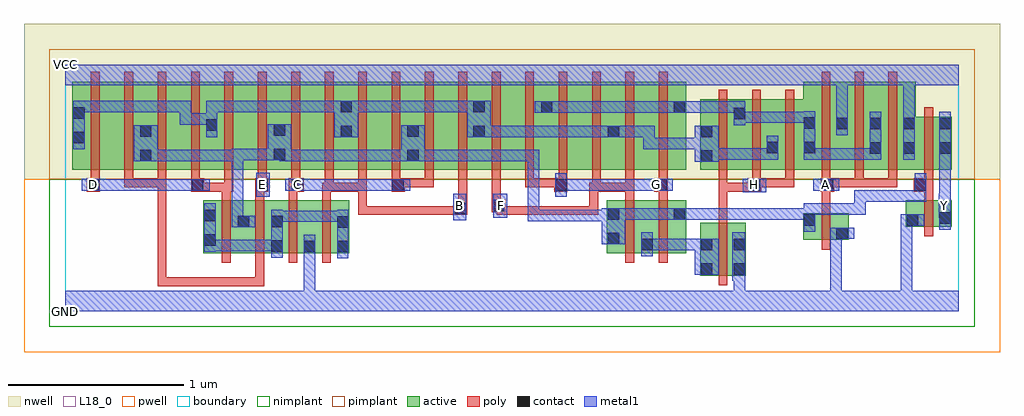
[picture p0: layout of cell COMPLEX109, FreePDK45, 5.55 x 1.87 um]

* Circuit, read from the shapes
.subckt COMPLEX109 A B C D E F G GND H VCC Y
M1 n1 D n2 VSUBS nfet w=0.3u l=0.05u
M2 n2 E n1 VSUBS nfet w=0.3u l=0.05u
M3 GND C n2 VSUBS nfet w=0.3u l=0.05u
M4 n2 B GND VSUBS nfet w=0.3u l=0.05u
M5 n3 F n1 VSUBS nfet w=0.3u l=0.05u
M6 n1 G n3 VSUBS nfet w=0.3u l=0.05u
M7 GND H n3 VSUBS nfet w=0.3u l=0.05u
M8 GND A n1 VSUBS nfet w=0.15u l=0.05u
M9 Y n1 GND VSUBS nfet w=0.15u l=0.05u
M10 n4 D n5 n6 pfet w=0.5u l=0.05u
M11 n1 E n4 n6 pfet w=0.5u l=0.05u
M12 n7 E n1 n6 pfet w=0.5u l=0.05u
M13 n5 D n7 n6 pfet w=0.5u l=0.05u
M14 n8 D n5 n6 pfet w=0.5u l=0.05u
M15 n1 E n8 n6 pfet w=0.5u l=0.05u
M16 n9 C n1 n6 pfet w=0.5u l=0.05u
M17 n5 B n9 n6 pfet w=0.5u l=0.05u
M18 n10 B n5 n6 pfet w=0.5u l=0.05u
M19 n1 C n10 n6 pfet w=0.5u l=0.05u
M20 n11 C n1 n6 pfet w=0.5u l=0.05u
M21 n5 B n11 n6 pfet w=0.5u l=0.05u
M22 n12 F n5 n6 pfet w=0.5u l=0.05u
M23 n13 G n12 n6 pfet w=0.5u l=0.05u
M24 n14 G n13 n6 pfet w=0.5u l=0.05u
M25 n5 F n14 n6 pfet w=0.5u l=0.05u
M26 n15 F n5 n6 pfet w=0.5u l=0.05u
M27 n13 G n15 n6 pfet w=0.5u l=0.05u
M28 n13 H n5 n6 pfet w=0.4u l=0.05u m=3
M29 VCC A n13 n6 pfet w=0.5u l=0.05u m=3
M30 Y n1 VCC n6 pfet w=0.3u l=0.05u
.ends

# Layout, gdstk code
import gdstk
lib = gdstk.Library(unit=1e-6, precision=1e-09)
def R(c, l, rs):  # rectangles x0, y0, x1, y1
    for r in rs: c.add(gdstk.rectangle(r[:2], r[2:], *l))
def A(c, l, x, y, w, h, nx, ny, dx, dy):  # array of equal rectangles
    R(c, l, [(x+i*dx, y+j*dy, x+i*dx+w, y+j*dy+h) for i in range(nx) for j in range(ny)])
active = (1, 0)
pwell = (2, 0)
nwell = (3, 0)
nimplant = (4, 0)
pimplant = (5, 0)
poly = (9, 0)
contact = (10, 0)
metal1 = (11, 0)
L18_0 = (18, 0)
boundary = (235, 0)

complex109 = lib.new_cell('COMPLEX109')
A(complex109, active, 0.42, 0.805, 0.075, 0.265, 3, 1, 0.76, 0)
A(complex109, active, 1.025, 0.805, 0.23, 0.5, 3, 1, 0.38, 0)
A(complex109, active, 1.18, 0.805, 0.225, 0.5, 3, 1, 0.38, 0)
R(complex109, active, [(3.61,0.202,3.685,0.502), (3.61,0.202,3.87,0.502), (3.795,0.202,3.87,0.502), (0.785,0.33,1.05,0.63), (0.975,0.33,1.24,0.63), (0.975,0.33,1.05,0.547), (1.165,0.33,1.427,0.63), (1.352,0.33,1.615,0.63), (1.352,0.33,1.427,0.405), (1.54,0.33,1.615,0.63), (3.08,0.33,3.155,0.63), (3.08,0.33,3.345,0.63), (3.27,0.33,3.53,0.63), (3.27,0.33,3.345,0.417), (3.455,0.33,3.53,0.63), (0.785,0.332,0.86,0.63), (1.165,0.332,1.24,0.547), (4.195,0.405,4.27,0.555), (4.195,0.405,4.455,0.555), (4.38,0.405,4.455,0.555), (4.78,0.48,4.855,0.63), (4.78,0.48,5.04,0.63), (4.965,0.48,5.04,0.63), (0.04,0.805,0.265,1.305), (0.04,0.805,0.145,1.2), (0.265,0.805,0.495,1.305), (0.42,0.805,0.645,1.305), (0.645,0.805,0.87,1.305), (0.795,0.805,0.87,1.2), (0.795,0.805,1.025,1.305), (1.56,0.805,1.635,1.2), (2.165,0.805,2.39,1.305), (2.315,0.805,2.39,1.2), (2.315,0.805,2.545,1.305), (2.545,0.805,2.775,1.305), (2.7,0.805,2.775,1.2), (2.7,0.805,2.925,1.305), (2.925,0.805,3.155,1.305), (3.08,0.805,3.155,1.07), (3.08,0.805,3.305,1.305), (3.305,0.805,3.53,1.305), (3.455,0.805,3.53,1.2), (3.61,0.805,3.685,1.07), (3.61,0.805,3.87,1.205), (3.795,0.805,3.87,1.2), (3.795,0.805,4.06,1.205), (3.985,0.805,4.27,1.205), (3.985,0.805,4.06,1.07), (4.195,0.805,4.27,1.2), (4.195,0.805,4.455,1.305), (4.38,0.805,4.645,1.305), (4.38,0.805,4.455,1.305), (4.57,0.805,4.835,1.305), (4.57,0.805,4.645,1.2), (4.76,0.805,4.835,1.105), (4.76,0.805,5.04,1.105), (4.965,0.805,5.04,1.105)])
R(complex109, pwell, [(-0.235,-0.235,5.315,0.75)])
R(complex109, nwell, [(-0.235,0.75,5.315,1.635)])
R(complex109, nimplant, [(-0.09,-0.09,5.17,0.75)])
R(complex109, pimplant, [(-0.09,0.75,5.17,1.49)])
A(complex109, poly, 0.89, 0.275, 0.05, 0.41, 4, 1, 0.19, 0)
A(complex109, poly, 0.89, 0.635, 0.05, 0.095, 4, 1, 0.19, 0)
A(complex109, poly, 0.145, 0.705, 0.05, 0.095, 4, 1, 0.19, 0)
A(complex109, poly, 4.3, 0.705, 0.05, 0.095, 3, 1, 0.19, 0)
A(complex109, poly, 0.145, 0.75, 0.05, 0.61, 18, 1, 0.19, 0)
A(complex109, poly, 3.715, 0.75, 0.05, 0.51, 3, 1, 0.19, 0)
A(complex109, poly, 4.3, 0.75, 0.05, 0.61, 3, 1, 0.19, 0)
R(complex109, poly, [(0.525,0.142,0.575,0.192), (0.525,0.142,0.575,0.192), (0.525,0.142,0.575,0.192), (0.525,0.142,0.575,0.192), (0.525,0.142,0.575,0.192), (0.525,0.142,0.575,0.192), (0.525,0.142,0.575,0.192), (0.525,0.142,0.807,0.192), (0.525,0.142,0.575,0.755), (0.757,0.142,0.807,0.192), (0.757,0.142,0.997,0.192), (0.947,0.142,0.997,0.192), (0.947,0.142,0.997,0.192), (0.947,0.142,0.997,0.192), (0.947,0.142,1.13,0.192), (1.08,0.142,1.13,0.192), (1.08,0.142,1.13,0.192), (1.08,0.142,1.13,0.192), (1.08,0.142,1.13,0.325), (3.715,0.147,3.765,0.557), (3.185,0.275,3.235,0.685), (3.375,0.275,3.425,0.685), (4.3,0.35,4.35,0.61), (4.885,0.425,4.935,0.685), (3.715,0.507,3.765,0.73), (1.665,0.547,1.715,0.597), (1.665,0.547,1.715,0.597), (1.665,0.547,1.715,0.597), (1.665,0.547,1.715,0.597), (1.665,0.547,1.715,0.597), (1.665,0.547,1.715,0.73), (1.665,0.547,1.865,0.597), (1.815,0.547,1.865,0.597), (1.815,0.547,2.127,0.597), (2.077,0.547,2.127,0.597), (2.077,0.547,2.127,0.597), (2.077,0.547,2.127,0.597), (2.077,0.547,2.26,0.597), (2.21,0.547,2.26,0.597), (2.21,0.547,2.26,0.597), (2.21,0.547,2.26,0.597), (2.21,0.547,2.26,0.597), (2.21,0.547,2.26,0.597), (2.21,0.547,2.26,0.597), (2.21,0.547,2.285,0.622), (2.452,0.547,2.502,0.597), (2.452,0.547,2.502,0.597), (2.452,0.547,2.502,0.597), (2.452,0.547,2.635,0.597), (2.452,0.547,2.502,0.612), (2.585,0.547,2.635,0.597), (2.585,0.547,2.797,0.597), (2.747,0.547,2.797,0.597), (2.747,0.547,2.797,0.597), (2.747,0.547,2.797,0.597), (2.747,0.547,3.03,0.597), (2.98,0.547,3.03,0.597), (2.98,0.547,3.03,0.597), (2.98,0.547,3.03,0.597), (2.98,0.547,3.03,0.597), (2.98,0.547,3.03,0.597), (2.98,0.547,3.03,0.73), (4.3,0.56,4.35,0.73), (2.425,0.562,2.502,0.637), (2.452,0.562,2.502,0.612), (2.452,0.562,2.502,0.612), (2.235,0.572,2.285,0.8), (2.425,0.587,2.475,0.8), (3.185,0.635,3.235,0.73), (3.375,0.635,3.425,0.73), (4.885,0.635,4.935,0.73), (0.122,0.68,0.197,0.755), (0.715,0.68,0.79,0.755), (0.74,0.68,0.94,0.73), (0.89,0.68,0.94,0.73), (0.89,0.68,0.94,0.73), (0.89,0.68,0.955,0.73), (0.905,0.68,0.955,0.8), (1.08,0.68,1.155,0.755), (1.27,0.68,1.357,0.755), (1.46,0.68,1.525,0.73), (1.475,0.68,1.525,0.73), (1.475,0.68,1.525,0.73), (1.475,0.68,1.715,0.73), (1.475,0.68,1.525,0.8), (1.665,0.68,1.715,0.73), (1.665,0.68,1.715,0.8), (1.855,0.68,1.93,0.755), (2.78,0.68,2.855,0.755), (2.98,0.68,3.045,0.73), (2.995,0.68,3.235,0.73), (2.995,0.68,3.045,0.8), (3.185,0.68,3.235,0.73), (3.185,0.68,3.235,0.73), (3.185,0.68,3.235,0.73), (3.185,0.68,3.235,0.8), (3.35,0.68,3.425,0.755), (3.715,0.68,3.765,0.73), (3.715,0.68,3.765,0.73), (3.715,0.68,3.765,0.73), (3.715,0.68,3.932,0.73), (3.715,0.68,3.765,0.8), (3.882,0.68,3.957,0.755), (4.297,0.68,4.372,0.755), (4.825,0.68,4.935,0.755), (0.335,0.705,0.385,0.755), (0.335,0.705,0.385,0.755), (0.335,0.705,0.385,0.755), (0.335,0.705,0.575,0.755), (0.525,0.705,0.575,0.755), (0.525,0.705,0.575,0.755), (0.525,0.705,0.575,0.755), (1.095,0.705,1.145,0.8), (1.285,0.705,1.335,0.8), (1.855,0.705,1.905,0.8), (1.88,0.705,1.93,0.755), (1.88,0.705,1.93,0.755), (1.88,0.705,2.095,0.755), (2.045,0.705,2.095,0.8), (2.045,0.705,2.095,0.755), (2.615,0.705,2.665,0.8), (2.615,0.705,2.665,0.755), (2.615,0.705,2.83,0.755), (2.78,0.705,2.83,0.755), (2.78,0.705,2.83,0.755), (2.805,0.705,2.855,0.8), (3.375,0.705,3.425,0.8), (3.905,0.705,3.955,0.8), (3.907,0.705,4.145,0.755), (4.095,0.705,4.145,0.8), (4.095,0.705,4.145,0.755), (4.095,0.705,4.145,0.755), (4.095,0.705,4.145,0.755), (4.322,0.705,4.372,0.755), (4.322,0.705,4.372,0.755), (4.322,0.705,4.54,0.755), (4.49,0.705,4.54,0.755), (4.49,0.705,4.73,0.755), (4.68,0.705,4.73,0.755), (4.68,0.705,4.73,0.755), (4.68,0.705,4.73,0.755), (4.885,0.705,4.935,0.8), (4.885,0.75,4.935,1.16)])
A(complex109, contact, 4.385, 1.035, 0.065, 0.065, 3, 1, 0.19, 0)
R(complex109, contact, [(3.615,0.207,3.68,0.272), (3.8,0.207,3.865,0.272), (1.357,0.335,1.422,0.4), (1.545,0.335,1.61,0.4), (1.17,0.337,1.235,0.402), (3.275,0.347,3.34,0.412), (3.615,0.347,3.68,0.412), (3.8,0.347,3.865,0.412), (0.79,0.372,0.855,0.437), (3.085,0.38,3.15,0.445), (4.385,0.41,4.45,0.475), (1.545,0.475,1.61,0.54), (0.98,0.477,1.045,0.542), (1.17,0.477,1.235,0.542), (4.2,0.485,4.265,0.55), (4.785,0.485,4.85,0.55), (4.97,0.497,5.035,0.562), (0.79,0.512,0.855,0.577), (3.085,0.52,3.15,0.585), (3.46,0.52,3.525,0.585), (2.215,0.552,2.28,0.617), (2.432,0.567,2.497,0.632), (0.127,0.685,0.192,0.75), (0.72,0.685,0.785,0.75), (1.085,0.685,1.15,0.75), (1.287,0.685,1.352,0.75), (1.86,0.685,1.925,0.75), (2.785,0.685,2.85,0.75), (3.355,0.685,3.42,0.75), (3.887,0.685,3.952,0.75), (4.302,0.685,4.367,0.75), (4.83,0.685,4.895,0.75), (3.615,0.85,3.68,0.915), (0.425,0.852,0.49,0.917), (1.945,0.852,2.01,0.917), (1.185,0.857,1.25,0.922), (4.575,0.895,4.64,0.96), (4.765,0.895,4.83,0.96), (4.97,0.895,5.035,0.96), (3.99,0.897,4.055,0.962), (4.2,0.897,4.265,0.962), (0.045,0.955,0.11,1.02), (1.565,0.99,1.63,1.055), (2.32,0.99,2.385,1.055), (3.085,0.99,3.15,1.055), (3.615,0.99,3.68,1.055), (0.425,0.992,0.49,1.057), (1.945,0.992,2.01,1.057), (1.185,0.997,1.25,1.062), (0.8,1.025,0.865,1.09), (4.97,1.035,5.035,1.1), (4.2,1.037,4.265,1.102), (3.8,1.092,3.865,1.157), (0.045,1.095,0.11,1.16), (2.705,1.127,2.77,1.192), (3.46,1.127,3.525,1.192), (1.565,1.13,1.63,1.195), (2.32,1.13,2.385,1.195)])
R(complex109, metal1, [(0,0,5.08,0.115), (1.357,0.05,1.422,0.115), (1.357,0.05,1.422,0.115), (1.357,0.05,1.422,0.365), (3.8,0.05,3.865,0.115), (3.8,0.05,3.865,0.115), (3.8,0.05,3.865,0.115), (3.8,0.05,3.865,0.115), (3.8,0.05,3.865,0.237), (4.35,0.05,4.415,0.115), (4.35,0.05,4.415,0.115), (4.35,0.05,4.415,0.475), (4.75,0.05,4.815,0.115), (4.75,0.05,4.815,0.115), (4.75,0.05,4.815,0.55), (3.792,0.172,3.865,0.447), (3.58,0.207,3.715,0.412), (1.357,0.3,1.422,0.365), (1.357,0.3,1.422,0.365), (1.357,0.3,1.422,0.435), (1.545,0.3,1.61,0.575), (1.17,0.302,1.235,0.577), (3.275,0.312,3.34,0.447), (0.79,0.337,0.855,0.612), (0.79,0.34,0.855,0.405), (0.79,0.34,0.855,0.405), (0.79,0.34,1.047,0.405), (0.982,0.34,1.047,0.405), (0.982,0.34,1.047,0.405), (0.982,0.34,1.047,0.405), (0.982,0.34,1.235,0.405), (3.275,0.347,3.34,0.412), (3.275,0.347,3.34,0.412), (3.275,0.347,3.49,0.412), (3.425,0.347,3.49,0.412), (3.425,0.347,3.645,0.412), (3.05,0.38,3.185,0.585), (4.35,0.41,4.415,0.475), (4.35,0.41,4.415,0.475), (4.35,0.41,4.415,0.475), (4.35,0.41,4.415,0.475), (4.35,0.41,4.485,0.475), (4.2,0.45,4.265,0.585), (4.97,0.462,5.035,0.597), (0.945,0.477,1.08,0.542), (0.947,0.477,1.012,0.917), (4.75,0.485,4.815,0.55), (4.75,0.485,4.815,0.55), (4.75,0.485,4.815,0.55), (4.75,0.485,4.815,0.55), (4.75,0.485,4.885,0.55), (1.17,0.507,1.425,0.572), (1.36,0.507,1.425,0.572), (1.36,0.507,1.425,0.572), (1.36,0.507,1.425,0.572), (1.36,0.507,1.562,0.572), (1.497,0.507,1.562,0.572), (1.497,0.507,1.61,0.572), (2.63,0.512,2.695,0.577), (2.63,0.512,2.84,0.577), (2.63,0.512,2.695,0.917), (2.775,0.512,2.84,0.577), (2.775,0.512,2.977,0.577), (2.912,0.512,2.977,0.577), (2.912,0.512,2.987,0.577), (2.922,0.512,2.987,0.577), (2.922,0.512,3.115,0.577), (2.207,0.517,2.28,0.667), (3.117,0.52,3.182,0.585), (3.117,0.52,3.185,0.585), (3.12,0.52,3.322,0.585), (3.257,0.52,3.322,0.585), (3.257,0.52,3.322,0.585), (3.257,0.52,3.322,0.585), (3.257,0.52,3.49,0.585), (3.425,0.52,3.56,0.585), (3.495,0.52,3.56,0.585), (3.495,0.52,3.56,0.585), (3.495,0.52,3.715,0.585), (3.65,0.52,3.715,0.585), (3.65,0.52,3.917,0.585), (3.852,0.52,3.917,0.585), (3.852,0.52,3.917,0.585), (3.852,0.52,3.917,0.585), (3.852,0.52,4.127,0.585), (4.062,0.52,4.127,0.585), (4.062,0.52,4.127,0.585), (4.062,0.52,4.127,0.585), (4.062,0.52,4.265,0.585), (4.2,0.52,4.265,0.585), (4.2,0.52,4.265,0.612), (2.432,0.532,2.512,0.667), (4.967,0.532,5.035,0.667), (4.97,0.532,5.035,0.597), (4.2,0.547,4.415,0.612), (4.35,0.547,4.415,0.612), (4.35,0.547,4.415,0.612), (4.35,0.547,4.415,0.612), (4.35,0.547,4.552,0.612), (4.487,0.547,4.552,0.65), (4.487,0.585,4.552,0.65), (4.487,0.585,4.552,0.687), (4.97,0.602,5.035,0.925), (4.487,0.622,4.895,0.687), (4.83,0.622,4.895,0.687), (4.83,0.622,4.895,0.715), (1.085,0.65,1.162,0.787), (2.785,0.65,2.85,0.785), (4.83,0.65,4.895,0.715), (4.83,0.65,4.895,0.715), (4.83,0.65,4.895,0.785), (3.852,0.675,3.987,0.752), (0.092,0.685,0.227,0.752), (0.162,0.685,0.317,0.75), (0.252,0.685,0.317,0.75), (0.252,0.685,0.365,0.75), (0.3,0.685,0.365,0.75), (0.3,0.685,0.525,0.75), (0.46,0.685,0.525,0.75), (0.46,0.685,0.525,0.75), (0.46,0.685,0.525,0.75), (0.46,0.685,0.662,0.75), (0.597,0.685,0.662,0.75), (0.597,0.685,0.75,0.75), (0.685,0.685,0.82,0.75), (1.252,0.685,1.387,0.752), (1.322,0.685,1.422,0.75), (1.357,0.685,1.422,0.75), (1.357,0.685,1.562,0.75), (1.497,0.685,1.562,0.75), (1.497,0.685,1.7,0.75), (1.635,0.685,1.7,0.75), (1.635,0.685,1.7,0.75), (1.635,0.685,1.7,0.75), (1.635,0.685,1.837,0.75), (1.772,0.685,1.837,0.75), (1.772,0.685,1.89,0.75), (1.825,0.685,1.96,0.75), (2.785,0.685,2.977,0.75), (2.912,0.685,2.977,0.75), (2.912,0.685,2.987,0.75), (2.922,0.685,2.987,0.75), (2.922,0.685,3.185,0.75), (3.12,0.685,3.185,0.75), (3.12,0.685,3.185,0.75), (3.12,0.685,3.185,0.75), (3.12,0.685,3.352,0.75), (3.287,0.685,3.352,0.75), (3.287,0.685,3.357,0.75), (3.292,0.685,3.455,0.752), (4.252,0.685,4.402,0.752), (3.58,0.85,3.715,1.055), (0.39,0.852,0.525,1.057), (0.46,0.852,0.525,0.917), (0.46,0.852,0.525,0.917), (0.46,0.852,0.717,0.917), (0.652,0.852,0.717,0.917), (0.652,0.852,0.717,0.917), (0.652,0.852,0.717,0.917), (0.652,0.852,0.872,0.917), (0.807,0.852,0.872,0.917), (0.807,0.852,0.872,0.917), (0.807,0.852,0.872,0.917), (0.807,0.852,1.012,0.917), (0.947,0.852,1.012,0.917), (0.947,0.852,1.012,0.917), (0.947,0.852,1.012,0.922), (1.22,0.852,1.422,0.917), (1.22,0.852,1.285,0.922), (1.357,0.852,1.422,0.917), (1.357,0.852,1.562,0.917), (1.497,0.852,1.562,0.917), (1.497,0.852,1.562,0.917), (1.497,0.852,1.562,0.917), (1.497,0.852,1.7,0.917), (1.635,0.852,1.7,0.917), (1.635,0.852,1.837,0.917), (1.772,0.852,1.837,0.917), (1.772,0.852,1.837,0.917), (1.772,0.852,1.837,0.917), (1.772,0.852,1.975,0.917), (1.91,0.852,2.045,1.057), (1.98,0.852,2.045,0.917), (1.98,0.852,2.045,0.917), (1.98,0.852,2.182,0.917), (2.117,0.852,2.182,0.917), (2.117,0.852,2.182,0.917), (2.117,0.852,2.182,0.917), (2.117,0.852,2.42,0.917), (2.355,0.852,2.42,0.917), (2.355,0.852,2.42,0.917), (2.355,0.852,2.42,0.917), (2.355,0.852,2.557,0.917), (2.492,0.852,2.557,0.917), (2.492,0.852,2.695,0.917), (2.63,0.852,2.695,0.917), (2.63,0.852,2.695,0.917), (2.63,0.852,2.695,0.917), (2.63,0.852,2.695,0.917), (2.63,0.852,2.695,0.917), (0.947,0.857,1.012,0.922), (0.947,0.857,1.012,0.922), (0.947,0.857,1.215,0.922), (1.15,0.857,1.285,1.062), (1.22,0.857,1.285,0.922), (4.575,0.86,4.64,1.135), (4.765,0.86,4.83,1.135), (4.97,0.86,5.035,1.135), (3.65,0.862,3.715,0.927), (3.65,0.862,3.715,0.927), (3.65,0.862,3.917,0.927), (3.852,0.862,3.917,0.927), (3.852,0.862,3.917,0.927), (3.852,0.862,3.917,0.927), (3.852,0.862,4.055,0.927), (3.99,0.862,4.055,0.997), (4.2,0.862,4.265,1.137), (4.2,0.862,4.265,0.927), (4.2,0.862,4.265,0.927), (4.2,0.862,4.415,0.927), (4.35,0.862,4.415,0.927), (4.35,0.862,4.415,0.927), (4.35,0.862,4.415,0.927), (4.35,0.862,4.64,0.927), (0.045,0.92,0.11,1.195), (3.287,0.92,3.352,0.985), (3.287,0.92,3.352,0.985), (3.287,0.92,3.352,1.055), (3.287,0.92,3.567,0.985), (3.502,0.92,3.567,0.985), (3.502,0.92,3.645,0.985), (0.8,0.99,0.865,1.125), (1.53,0.99,1.665,1.195), (2.285,0.99,2.42,1.195), (2.355,0.99,2.42,1.055), (2.355,0.99,2.557,1.055), (2.492,0.99,2.557,1.055), (2.492,0.99,2.557,1.055), (2.492,0.99,2.695,1.055), (2.63,0.99,2.695,1.055), (2.63,0.99,2.695,1.055), (2.63,0.99,2.832,1.055), (2.767,0.99,2.832,1.055), (2.767,0.99,2.832,1.055), (2.767,0.99,2.977,1.055), (2.912,0.99,2.977,1.055), (2.912,0.99,2.987,1.055), (2.922,0.99,2.987,1.055), (2.922,0.99,3.115,1.055), (3.05,0.99,3.185,1.055), (3.12,0.99,3.185,1.055), (3.12,0.99,3.185,1.055), (3.12,0.99,3.352,1.055), (4.385,1,4.45,1.135), (3.8,1.057,3.865,1.192), (0.652,1.06,0.717,1.195), (0.652,1.06,0.865,1.125), (0.8,1.06,0.865,1.125), (0.8,1.06,0.865,1.195), (3.8,1.07,3.865,1.135), (3.8,1.07,3.865,1.135), (3.8,1.07,4.127,1.135), (4.062,1.07,4.127,1.135), (4.062,1.07,4.127,1.135), (4.062,1.07,4.127,1.135), (4.062,1.07,4.265,1.135), (4.385,1.07,4.45,1.35), (4.765,1.07,4.83,1.35), (2.67,1.127,2.805,1.192), (2.74,1.127,2.84,1.192), (2.775,1.127,2.84,1.192), (2.775,1.127,2.977,1.192), (2.912,1.127,2.977,1.192), (2.912,1.127,2.987,1.192), (2.922,1.127,2.987,1.192), (2.922,1.127,3.185,1.192), (3.12,1.127,3.185,1.192), (3.12,1.127,3.185,1.192), (3.12,1.127,3.185,1.192), (3.12,1.127,3.322,1.192), (3.257,1.127,3.322,1.192), (3.257,1.127,3.322,1.192), (3.257,1.127,3.322,1.192), (3.257,1.127,3.49,1.192), (3.425,1.127,3.56,1.192), (3.495,1.127,3.56,1.192), (3.495,1.127,3.56,1.192), (3.495,1.127,3.715,1.192), (3.65,1.127,3.715,1.192), (3.65,1.127,3.865,1.192), (0.045,1.13,0.11,1.195), (0.045,1.13,0.11,1.195), (0.045,1.13,0.317,1.195), (0.252,1.13,0.317,1.195), (0.252,1.13,0.365,1.195), (0.3,1.13,0.365,1.195), (0.3,1.13,0.502,1.195), (0.437,1.13,0.502,1.195), (0.437,1.13,0.502,1.195), (0.437,1.13,0.502,1.195), (0.437,1.13,0.717,1.195), (0.652,1.13,0.717,1.195), (0.652,1.13,0.717,1.195), (0.8,1.13,1.047,1.195), (0.982,1.13,1.047,1.195), (0.982,1.13,1.047,1.195), (0.982,1.13,1.047,1.195), (0.982,1.13,1.285,1.195), (1.22,1.13,1.285,1.195), (1.22,1.13,1.422,1.195), (1.357,1.13,1.422,1.195), (1.357,1.13,1.422,1.195), (1.357,1.13,1.422,1.195), (1.357,1.13,1.562,1.195), (1.497,1.13,1.562,1.195), (1.497,1.13,1.595,1.195), (1.6,1.13,1.7,1.195), (1.635,1.13,1.7,1.195), (1.635,1.13,1.837,1.195), (1.772,1.13,1.837,1.195), (1.772,1.13,1.837,1.195), (1.772,1.13,1.837,1.195), (1.772,1.13,2.045,1.195), (1.98,1.13,2.045,1.195), (1.98,1.13,2.045,1.195), (1.98,1.13,2.045,1.195), (1.98,1.13,2.182,1.195), (2.117,1.13,2.182,1.195), (2.117,1.13,2.182,1.195), (2.117,1.13,2.182,1.195), (2.117,1.13,2.35,1.195), (0,1.285,5.08,1.4)])
R(complex109, L18_0, [(0,0,5.08,0.115), (1.357,0.05,1.422,0.115), (1.357,0.05,1.422,0.115), (1.357,0.05,1.422,0.365), (3.8,0.05,3.865,0.115), (3.8,0.05,3.865,0.115), (3.8,0.05,3.865,0.115), (3.8,0.05,3.865,0.115), (3.8,0.05,3.865,0.237), (4.35,0.05,4.415,0.115), (4.35,0.05,4.415,0.115), (4.35,0.05,4.415,0.475), (4.75,0.05,4.815,0.115), (4.75,0.05,4.815,0.115), (4.75,0.05,4.815,0.55), (3.792,0.172,3.865,0.447), (1.357,0.3,1.422,0.365), (1.357,0.3,1.422,0.365), (1.357,0.3,1.422,0.435), (4.35,0.41,4.415,0.475), (4.35,0.41,4.415,0.475), (4.35,0.41,4.415,0.475), (4.35,0.41,4.415,0.475), (4.35,0.41,4.485,0.475), (4.97,0.462,5.035,0.597), (4.75,0.485,4.815,0.55), (4.75,0.485,4.815,0.55), (4.75,0.485,4.815,0.55), (4.75,0.485,4.815,0.55), (4.75,0.485,4.885,0.55), (2.207,0.517,2.28,0.667), (2.432,0.532,2.512,0.667), (4.967,0.532,5.035,0.667), (4.97,0.532,5.035,0.597), (2.207,0.567,2.272,0.632), (2.447,0.567,2.512,0.632), (4.967,0.567,5.032,0.632), (4.97,0.602,5.035,0.925), (1.085,0.65,1.162,0.787), (2.785,0.65,2.85,0.785), (3.852,0.675,3.987,0.752), (0.092,0.685,0.227,0.752), (0.162,0.685,0.317,0.75), (0.252,0.685,0.317,0.75), (0.252,0.685,0.365,0.75), (0.3,0.685,0.365,0.75), (0.3,0.685,0.525,0.75), (0.46,0.685,0.525,0.75), (0.46,0.685,0.525,0.75), (0.46,0.685,0.525,0.75), (0.46,0.685,0.662,0.75), (0.597,0.685,0.662,0.75), (0.597,0.685,0.75,0.75), (0.685,0.685,0.82,0.75), (1.252,0.685,1.387,0.752), (1.322,0.685,1.422,0.75), (1.357,0.685,1.422,0.75), (1.357,0.685,1.562,0.75), (1.497,0.685,1.562,0.75), (1.497,0.685,1.7,0.75), (1.635,0.685,1.7,0.75), (1.635,0.685,1.7,0.75), (1.635,0.685,1.7,0.75), (1.635,0.685,1.837,0.75), (1.772,0.685,1.837,0.75), (1.772,0.685,1.89,0.75), (1.825,0.685,1.96,0.75), (2.785,0.685,2.977,0.75), (2.912,0.685,2.977,0.75), (2.912,0.685,2.987,0.75), (2.922,0.685,2.987,0.75), (2.922,0.685,3.185,0.75), (3.12,0.685,3.185,0.75), (3.12,0.685,3.185,0.75), (3.12,0.685,3.185,0.75), (3.12,0.685,3.352,0.75), (3.287,0.685,3.352,0.75), (3.287,0.685,3.357,0.75), (3.292,0.685,3.455,0.752), (4.252,0.685,4.402,0.752), (0.127,0.687,0.192,0.752), (1.087,0.687,1.152,0.752), (1.287,0.687,1.352,0.752), (3.327,0.687,3.392,0.752), (3.887,0.687,3.952,0.752), (4.287,0.687,4.352,0.752), (4.765,0.86,4.83,1.135), (4.97,0.86,5.035,1.135), (4.385,1,4.45,1.135), (4.385,1.07,4.45,1.35), (4.765,1.07,4.83,1.35), (0,1.285,5.08,1.4)])
R(complex109, boundary, [(0,0,5.08,1.4)])
complex109.add(gdstk.Label('A', (4.32,0.72), layer=11, texttype=0))
complex109.add(gdstk.Label('B', (2.24,0.6), layer=11, texttype=0))
complex109.add(gdstk.Label('C', (1.32,0.72), layer=11, texttype=0))
complex109.add(gdstk.Label('D', (0.16,0.72), layer=11, texttype=0))
complex109.add(gdstk.Label('E', (1.12,0.72), layer=11, texttype=0))
complex109.add(gdstk.Label('F', (2.48,0.6), layer=11, texttype=0))
complex109.add(gdstk.Label('G', (3.36,0.72), layer=11, texttype=0))
complex109.add(gdstk.Label('H', (3.92,0.72), layer=11, texttype=0))
complex109.add(gdstk.Label('Y', (5,0.6), layer=11, texttype=0))
complex109.add(gdstk.Label('VCC', (0,1.4), layer=11, texttype=0))
complex109.add(gdstk.Label('GND', (0,0), layer=11, texttype=0))

lib.write_gds('COMPLEX109.gds')
